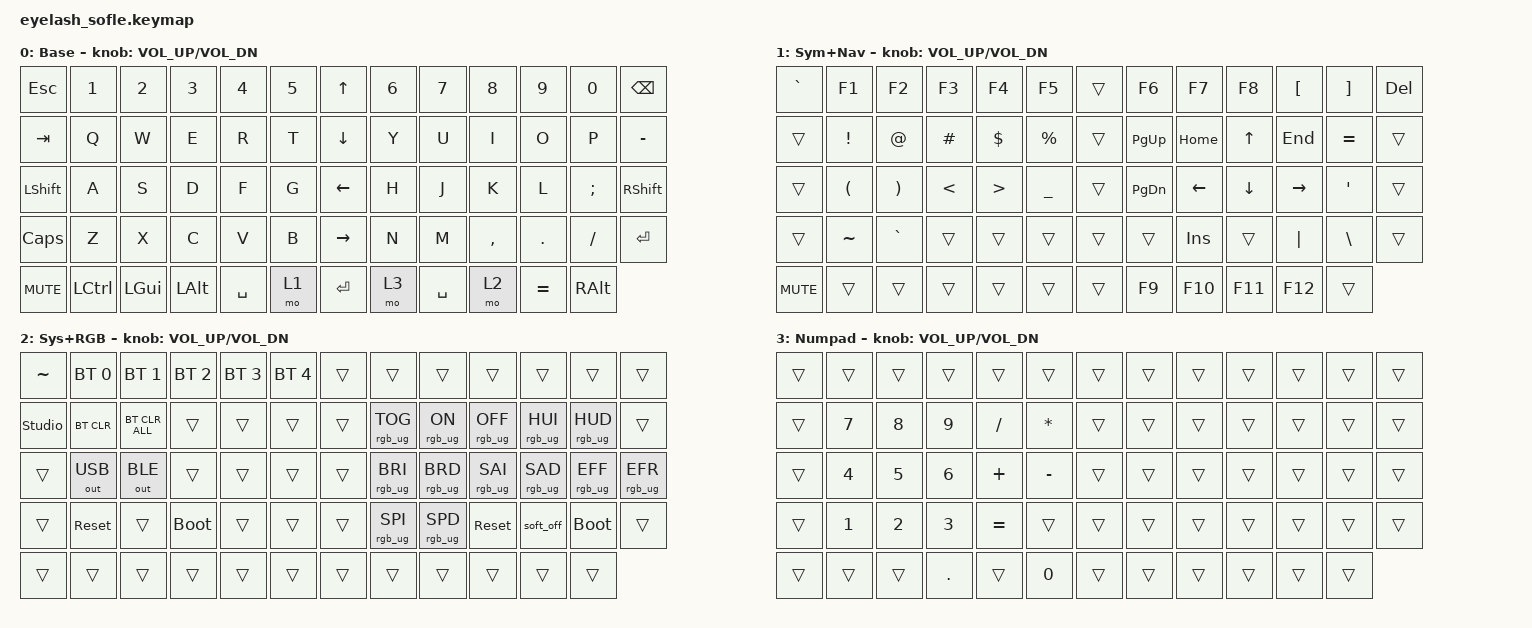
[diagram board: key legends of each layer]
#include <behaviors.dtsi>
#include <dt-bindings/zmk/bt.h>
#include <dt-bindings/zmk/keys.h>
#include <dt-bindings/zmk/outputs.h>
#include <dt-bindings/zmk/ext_power.h>
#include <dt-bindings/zmk/rgb.h>

// Require holding the key for 2s to prevent accidental shutdown
&soft_off {
    hold-time-ms = <2000>;
};

/ {
    keymap {
        compatible = "zmk,keymap";

        // -----------------------------------------------------------------------------------------
        // Layer 0 - Base (QWERTY)
        // Outer right col: MINUS (row1), RSHIFT (row2)
        // [ and ] moved to Layer 1 (Sym+Nav)
        // LSHFT on home row (A col), CAPS on bottom row (Z col)
        // Left thumb:  SPACE | mo1(Sym+Nav)
        // Right thumb: mo3(Numpad) | SPACE | mo2(Sys) | EQUAL | RALT
        // -----------------------------------------------------------------------------------------
        layer0 {
            bindings = <
&kp ESC    &kp N1       &kp N2       &kp N3    &kp N4  &kp N5    &kp UP_ARROW    &kp N6    &kp N7    &kp N8    &kp N9    &kp N0          &kp BACKSPACE
&kp TAB    &kp Q        &kp W        &kp E     &kp R   &kp T     &kp DOWN_ARROW  &kp Y     &kp U     &kp I     &kp O     &kp P           &kp MINUS
&kp LSHFT  &kp A        &kp S        &kp D     &kp F   &kp G     &kp LEFT_ARROW  &kp H     &kp J     &kp K     &kp L     &kp SEMI        &kp RIGHT_SHIFT
&kp CAPS   &kp Z        &kp X        &kp C     &kp V   &kp B     &kp RIGHT_ARROW &kp N     &kp M     &kp COMMA &kp DOT   &kp FSLH        &kp ENTER
&kp C_MUTE &kp LCTRL &kp LEFT_GUI &kp LEFT_ALT &kp SPACE &mo 1    &kp ENTER       &mo 3     &kp SPACE &mo 2     &kp EQUAL       &kp RALT
            >;

            sensor-bindings = <&inc_dec_kp C_VOLUME_UP C_VOL_DN>;
            display-name = "Base";
        };

        // -----------------------------------------------------------------------------------------
        // Layer 1 - Sym + Nav  (hold mo1 - left thumb)
        // Left  : symbols
        // Right : nav cluster  |  F1-F8 on top row  |  [ ] DELETE on top row pinky cols
        //         outer col transparent → MINUS/RSHIFT/ENTER pass through from base
        // Thumb : F9-F12 on right thumb (mo3/SPACE/mo2/ENTER slots)
        // -----------------------------------------------------------------------------------------
        layer_1 {
            bindings = <
&kp GRAVE  &kp F1    &kp F2    &kp F3    &kp F4    &kp F5    &trans  &kp F6     &kp F7     &kp F8     &kp LBKT  &kp RBKT  &kp DELETE
&trans     &kp EXCL  &kp AT    &kp HASH  &kp DLLR  &kp PRCNT &trans  &kp PG_UP  &kp HOME   &kp UP     &kp END   &kp EQUAL &trans
&trans     &kp LPAR  &kp RPAR  &kp LT    &kp GT    &kp UNDER &trans  &kp PG_DN  &kp LEFT   &kp DOWN   &kp RIGHT &kp SQT   &trans
&trans     &kp TILDE &kp GRAVE &trans    &trans    &trans    &trans  &trans     &kp INSERT &trans     &kp PIPE  &kp BSLH  &trans
&kp C_MUTE &trans    &trans    &trans    &trans    &trans    &trans  &kp F9     &kp F10    &kp F11    &kp F12   &trans
            >;

            display-name = "Sym+Nav";
            sensor-bindings = <&inc_dec_kp C_VOLUME_UP C_VOL_DN>;
        };

        // -----------------------------------------------------------------------------------------
        // Layer 2 - Sys + RGB  (hold mo2 - right thumb)
        // Left : Bluetooth / output   |   Right : full RGB control (all 11 behaviors)
        // -----------------------------------------------------------------------------------------
        layer_2 {
            bindings = <
&kp TILDE       &bt BT_SEL 0  &bt BT_SEL 1    &bt BT_SEL 2  &bt BT_SEL 3  &bt BT_SEL 4  &trans  &trans           &trans           &trans          &trans          &trans          &trans
&studio_unlock  &bt BT_CLR    &bt BT_CLR_ALL  &trans        &trans        &trans        &trans  &rgb_ug RGB_TOG  &rgb_ug RGB_ON   &rgb_ug RGB_OFF &rgb_ug RGB_HUI &rgb_ug RGB_HUD &trans
&trans          &out OUT_USB  &out OUT_BLE    &trans        &trans        &trans        &trans  &rgb_ug RGB_BRI  &rgb_ug RGB_BRD  &rgb_ug RGB_SAI &rgb_ug RGB_SAD &rgb_ug RGB_EFF &rgb_ug RGB_EFR
&trans          &sys_reset    &trans          &bootloader   &trans        &trans        &trans  &rgb_ug RGB_SPI  &rgb_ug RGB_SPD  &sys_reset      &soft_off       &bootloader     &trans
&trans          &trans        &trans          &trans        &trans        &trans        &trans  &trans           &trans           &trans          &trans          &trans
            >;

            display-name = "Sys+RGB";
            sensor-bindings = <&inc_dec_kp C_VOLUME_UP C_VOL_DN>;
        };

        // -----------------------------------------------------------------------------------------
        // Layer 3 - Numpad  (hold mo3 - right thumb)
        // Left hand types numbers while right thumb holds mo3
        // Row layout (top→bottom): 7 8 9 | 4 5 6 | 1 2 3
        // Left thumb: DOT (LEFT_ALT slot) and 0 (SPACE slot)
        // -----------------------------------------------------------------------------------------
        layer_3 {
            bindings = <
&trans   &trans  &trans  &trans    &trans    &trans    &trans  &trans  &trans  &trans  &trans  &trans  &trans
&trans   &kp N7  &kp N8  &kp N9    &kp FSLH  &kp STAR  &trans  &trans  &trans  &trans  &trans  &trans  &trans
&trans   &kp N4  &kp N5  &kp N6    &kp PLUS  &kp MINUS &trans  &trans  &trans  &trans  &trans  &trans  &trans
&trans   &kp N1  &kp N2  &kp N3    &kp EQUAL &trans    &trans  &trans  &trans  &trans  &trans  &trans  &trans
&trans   &trans  &trans  &kp DOT   &trans    &kp N0    &trans  &trans  &trans  &trans  &trans  &trans
            >;

            display-name = "Numpad";
            sensor-bindings = <&inc_dec_kp C_VOLUME_UP C_VOL_DN>;
        };
    };
};
